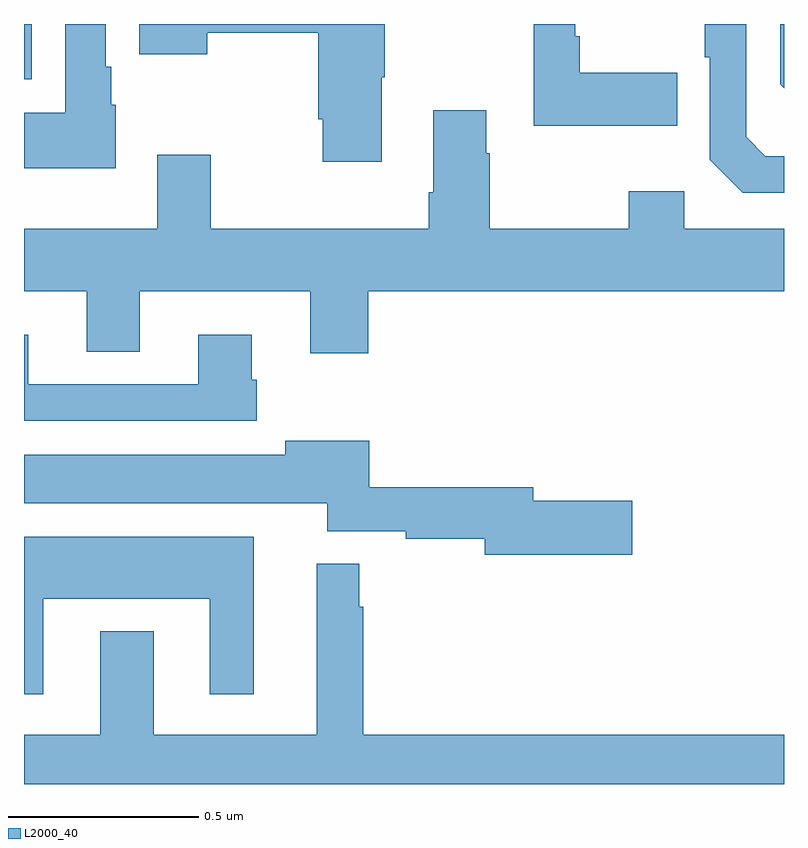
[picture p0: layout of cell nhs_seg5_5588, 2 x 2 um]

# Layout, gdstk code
import gdstk
lib = gdstk.Library(unit=1e-6, precision=1e-09)
def R(c, l, rs):  # rectangles x0, y0, x1, y1
    for r in rs: c.add(gdstk.rectangle(r[:2], r[2:], *l))
def P(c, l, *ps):  # polygons
    for p in ps: c.add(gdstk.Polygon(p, *l))
L2000_40 = (2000, 40)

nhs_seg5_5588 = lib.new_cell('nhs_seg5_5588')
R(nhs_seg5_5588, L2000_40, [(185,854.654,185.02,854.799)])
P(nhs_seg5_5588, L2000_40, [(185.242,854.586),(185.23,854.586),(185.23,854.686),(185.215,854.686),(185.215,854.799),(185.108,854.799),(185.108,854.566),(185,854.566),(185,854.42),(185.242,854.42)],
  [(186.719,854.671),(186.463,854.671),(186.463,854.767),(186.45,854.767),(186.45,854.799),(186.342,854.799),(186.342,854.531),(186.719,854.531)],
  [(187,854.799),(186.99,854.799),(186.99,854.64),(187,854.63)],
  [(185.941,854.659),(185.949,854.659),(185.949,854.799),(185.303,854.799),(185.303,854.72),(185.482,854.72),(185.482,854.776),(185.774,854.776),(185.774,854.548),(185.786,854.548),(185.786,854.436),(185.941,854.436)],
  [(187,854.451),(186.951,854.451),(186.9,854.502),(186.9,854.799),(186.792,854.799),(186.792,854.711),(186.804,854.711),(186.804,854.442),(186.891,854.355),(187,854.355)],
  [(185.906,854.096),(187,854.096),(187,854.26),(186.738,854.26),(186.738,854.359),(186.592,854.359),(186.592,854.26),(186.225,854.26),(186.225,854.459),(186.217,854.459),(186.217,854.572),(186.077,854.572),(186.077,854.356),(186.065,854.356),(186.065,854.26),(185.491,854.26),(185.491,854.455),(185.351,854.455),(185.351,854.26),(185,854.26),(185,854.096),(185.165,854.096),(185.165,853.936),(185.305,853.936),(185.305,854.096),(185.753,854.096),(185.753,853.932),(185.906,853.932)],
  [(185.612,853.863),(185.599,853.863),(185.599,853.981),(185.459,853.981),(185.459,853.851),(185.011,853.851),(185.011,853.981),(185,853.981),(185,853.755),(185.612,853.755)],
  [(186.601,853.544),(186.34,853.544),(186.34,853.58),(185.908,853.58),(185.908,853.702),(185.687,853.702),(185.687,853.666),(185,853.666),(185,853.538),(185.798,853.538),(185.798,853.464),(186.004,853.464),(186.004,853.444),(186.212,853.444),(186.212,853.402),(186.601,853.402)],
  [(185.05,853.286),(185.489,853.286),(185.489,853.035),(185.605,853.035),(185.605,853.45),(185,853.45),(185,853.035),(185.05,853.035)],
  [(187,852.928),(185.893,852.928),(185.893,853.265),(185.882,853.265),(185.882,853.378),(185.771,853.378),(185.771,852.928),(185.341,852.928),(185.341,853.201),(185.201,853.201),(185.201,852.928),(185,852.928),(185,852.799),(187,852.799)])

lib.write_gds('nhs_seg5_5588.gds')
